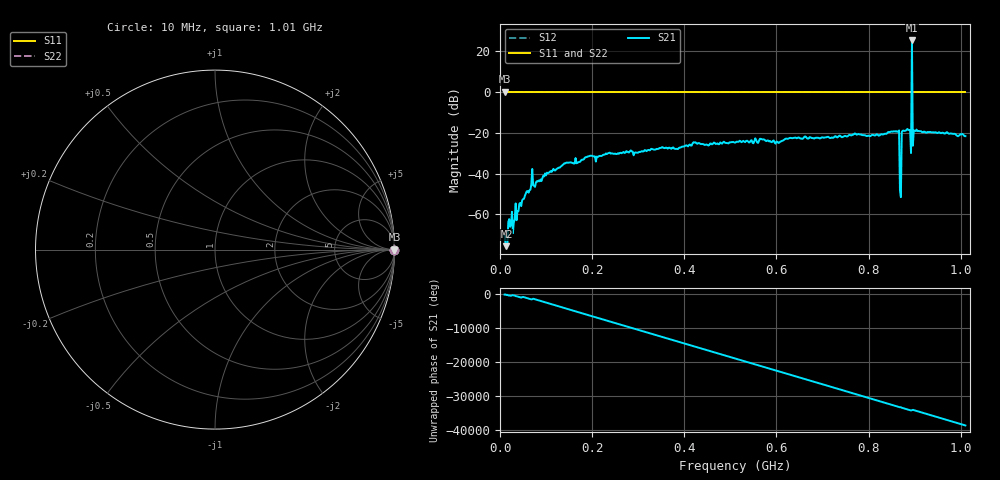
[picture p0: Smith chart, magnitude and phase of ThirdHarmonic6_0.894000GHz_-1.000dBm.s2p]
! 8/16/2025 5:22:14 AM
! C:\ANRITSUVNA\TEMP\TEMP.S2P
! CHANNEL.1
! TR.MEASUREMENT
! RAW.DATA
! RF.CORRECTION.OFF
! AVERAGING.OFF
! IF.BANDWIDTH: 5KHZ
! SWEEPTYPE:  FREQ.SWEEP(Linear)
! Reference Plane Port Info
! PORT:  PORT1  PORT2
! DISTANCE:  0  m  0  m
! TIME:  0  s  0  s
! PHASE.OFFSET:  0  deg.  0  deg.
! LOSS:  0  dB  0  dB
! REF.LOSS:  0  dB  0  dB
! REF.FREQ:  0  Hz  0  Hz
! Power Info
! POWER:  -20  dBm  -20  dBm
! EFF.POWER:  -20  dBm  -20  dBm
! SOURCE.ATTEN:  0  dB  0  dB
! TEST.ATTEN:  0  dB  0  dB
# GHZ S RI R 50.0
! FREQ.GHZ  S11RE  S11IM  S21RE  S21IM  S12RE  S12IM  S22RE  S22IM
!; PortSelection: Port_12
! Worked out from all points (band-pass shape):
!   501 points, 10 MHz to 1.01 GHz, reference 50 ohm
!   highest |S21| = 25.04 dB at 894 MHz (marker M1); lowest = -75.5 dB at 14 MHz (marker M2)
!   |S21| within 3 dB of the highest: 893.891 MHz to 894.1166 MHz (225.6 kHz wide, 0.0252 % of centre)
!   lowest |S11| = 0.0 dB at 10 MHz (marker M3)
!   |S11| at or under -10 dB: nowhere
!   |S22| runs from 0.0 to 0.0 dB; largest |S21 - S12| = 17
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0.01  1 0  0.000192 -0.000252  1 0  1 0
0.014  1 0  -0.000167 -1.8e-05  1 0  1 0
0.022  1 0  0.00035 -0.000356  1 0  1 0
0.032  1 0  0.000754 0.00014  1 0  1 0
0.068  1 0  0.00459 -0.00278  1 0  1 0
0.142  1 0  -0.0164 -0.00683  1 0  1 0
0.178  1 0  -0.0214 -0.00447  1 0  1 0
0.344  1 0  0.0379 -0.0134  1 0  1 0
0.51  1 0  -0.0428 0.0371  1 0  1 0
0.678  1 0  -0.0637 -0.0367  1 0  1 0
0.844  1 0  0.1034 0.0039  1 0  1 0
0.862  1 0  0.1033 -0.018  1 0  1 0
0.866  1 0  -0.1113 -0.0195  1 0  1 0
0.872  1 0  0.063 -0.0834  1 0  1 0
0.876  1 0  -0.0901 0.0667  1 0  1 0
0.886  1 0  -0.0169 0.1162  1 0  1 0
0.888  1 0  0.1092 0.0354  1 0  1 0
0.89  1 0  0.0497 -0.1059  1 0  1 0
0.894  1 0  11.05 -14.03  1 0  1 0
0.898  1 0  0.0933 -0.0628  1 0  1 0
0.9  1 0  -0.0461 -0.1011  1 0  1 0
1.01  1 0  -0.0274 0.0771  1 0  1 0
